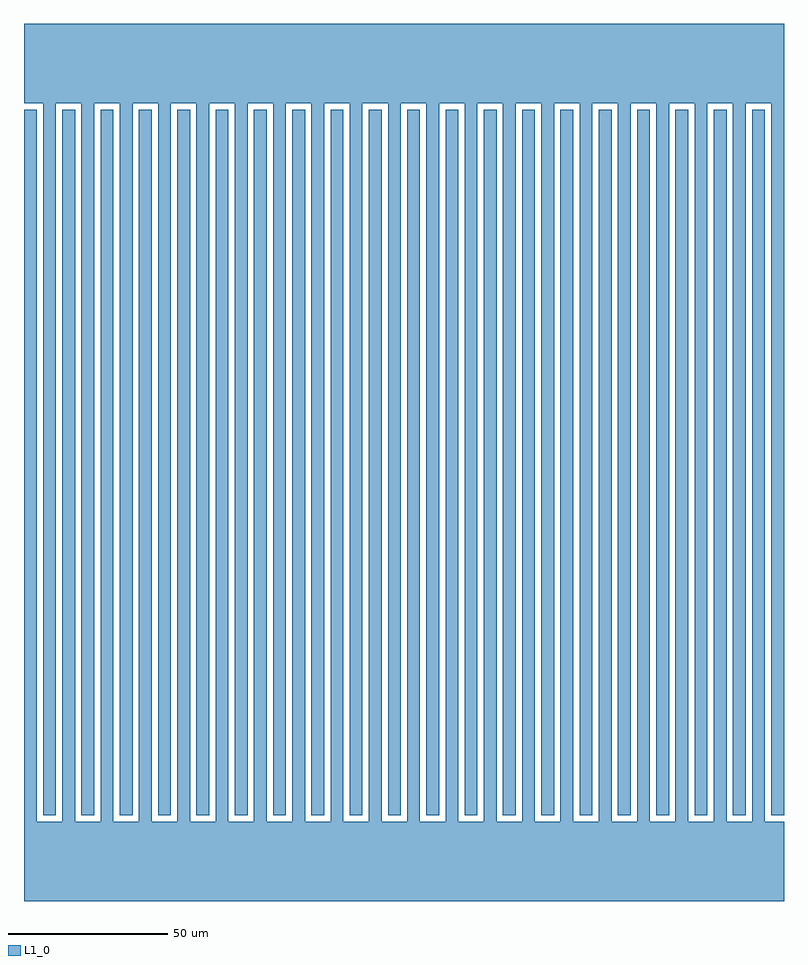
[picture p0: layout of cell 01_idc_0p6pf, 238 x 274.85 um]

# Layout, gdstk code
import gdstk
lib = gdstk.Library(unit=1e-6, precision=1e-09)
def R(c, l, rs):  # rectangles x0, y0, x1, y1
    for r in rs: c.add(gdstk.rectangle(r[:2], r[2:], *l))
def A(c, l, x, y, w, h, nx, ny, dx, dy):  # array of equal rectangles
    R(c, l, [(x+i*dx, y+j*dy, x+i*dx+w, y+j*dy+h) for i in range(nx) for j in range(ny)])
L1_0 = (1, 0)

c_01_idc_0p6pf = lib.new_cell('01_idc_0p6pf')
A(c_01_idc_0p6pf, L1_0, 0, 25, 4, 222.851, 20, 1, 12, 0)
A(c_01_idc_0p6pf, L1_0, 6, 27, 4, 222.851, 20, 1, 12, 0)
R(c_01_idc_0p6pf, L1_0, [(0,0,238,25), (0,249.851,238,274.851)])

lib.write_gds('01_idc_0p6pf.gds')
